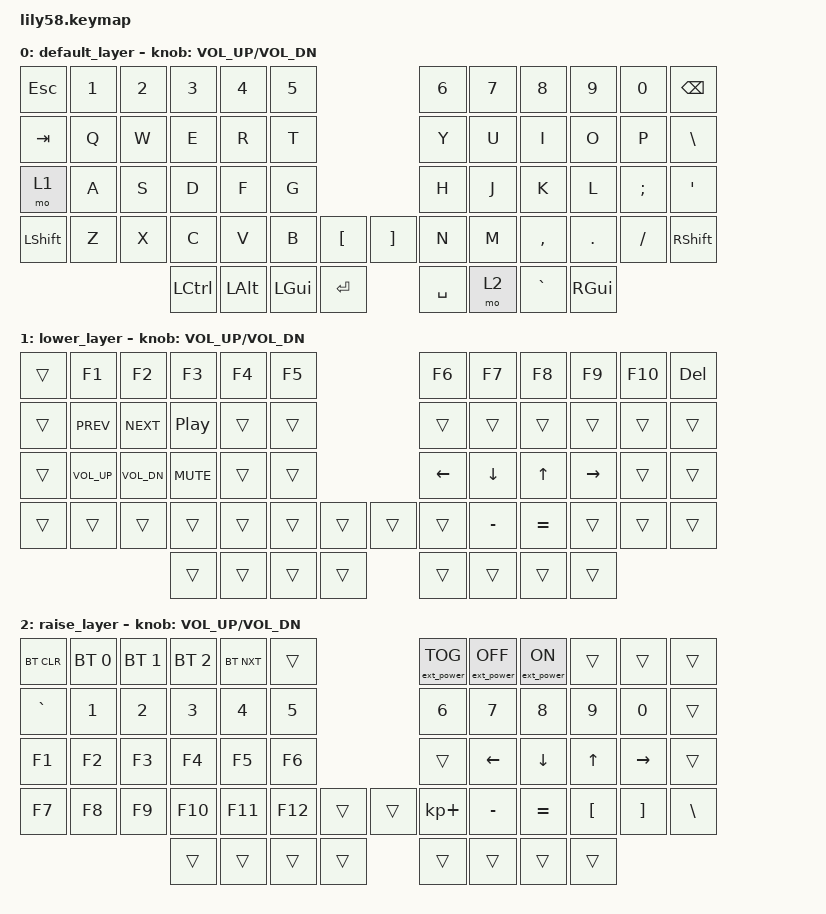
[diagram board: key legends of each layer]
/*
 * Copyright (c) 2020 The ZMK Contributors
 *
 * SPDX-License-Identifier: MIT
 */

#include <behaviors.dtsi>
#include <dt-bindings/zmk/keys.h>
#include <dt-bindings/zmk/bt.h>
#include <dt-bindings/zmk/ext_power.h>

/ {
	keymap {
		compatible = "zmk,keymap";

		default_layer {
// ------------------------------------------------------------------------------------------------------------
// |  ESC  |  1  |  2  |  3   |  4   |  5   |                   |  6   |  7    |  8    |  9   |   0   |   `   |
// |  TAB  |  Q  |  W  |  E   |  R   |  T   |                   |  Y   |  U    |  I    |  O   |   P   |   -   |
// |  CTRL |  A  |  S  |  D   |  F   |  G   |                   |  H   |  J    |  K    |  L   |   ;   |   '   |
// | SHIFT |  Z  |  X  |  C   |  V   |  B   |   "["  |  |  "]"  |  N   |  M    |  ,    |  .   |   /   | SHIFT |
//                     | ALT  | GUI  | LOWER|  SPACE |  | ENTER | RAISE| BSPC  | GUI   |
			bindings = <
&kp ESC   &kp N1 &kp N2 &kp N3   &kp N4   &kp N5                     &kp N6 &kp N7   &kp N8    &kp N9  &kp N0   &kp BSPC
&kp TAB   &kp Q  &kp W  &kp E    &kp R    &kp T                      &kp Y  &kp U    &kp I     &kp O   &kp P    &kp BSLH
&mo 1     &kp A  &kp S  &kp D    &kp F    &kp G                      &kp H  &kp J    &kp K     &kp L   &kp SEMI &kp SQT
&kp LSHFT &kp Z  &kp X  &kp C    &kp V    &kp B  &kp LBKT   &kp RBKT &kp N  &kp M    &kp COMMA &kp DOT &kp FSLH &kp RSHFT
                        &kp LCTRL &kp LALT &kp LGUI  &kp RET  &kp SPACE  &mo 2  &kp GRAVE &kp RGUI
			>;

			sensor-bindings = <&inc_dec_kp C_VOL_UP C_VOL_DN>;
		};

		lower_layer {
// ------------------------------------------------------------------------------------------------------------
// | BTCLR | BT1 | BT2 |  BT3 |  BT4 |  BT5 |                   |      |       |       |      |       |       |
// |  F1   |  F2 |  F3 |  F4  |  F5  |  F6  |                   |  F7  |  F8   |  F9   |  F10 |  F11  |  F12  |
// |   `   |  !  |  @  |  #   |  $   |  %   |                   |  ^   |  &    |  *    |  (   |   )   |   ~   |
// |       |     |     |      |      |      |        |  |       |      |  _    |  +    |  {   |   }   |  "|"  |
//                     |      |      |      |        |  |       |      |       |       |
			bindings = <
&trans     &kp F1           &kp F2            &kp F3            &kp F4       &kp F5                       &kp F6    &kp F7    &kp F8          &kp F9    &kp F10   &kp DEL
&trans     &kp C_PREV       &kp C_NEXT        &kp C_PP          &trans       &trans                       &trans    &trans    &trans          &trans    &trans    &trans
&trans     &kp C_VOL_UP     &kp C_VOL_DN       &kp C_MUTE        &trans       &trans                       &kp LEFT  &kp DOWN  &kp UP          &kp RIGHT &trans    &trans
&trans     &trans           &trans            &trans            &trans       &trans    &trans   &trans    &trans    &kp MINUS &kp EQUAL     &trans    &trans    &trans
                                              &trans            &trans       &trans    &trans   &trans    &trans    &trans    &trans
			>;

			sensor-bindings = <&inc_dec_kp C_VOL_UP C_VOL_DN>;
		};

		raise_layer {
// ------------------------------------------------------------------------------------------------------------
// |       |     |     |      |      |      |                   |      |       |       |      |       |       |
// |   `   |  1  |  2  |  3   |  4   |  5   |                   |  6   |   7   |   8   |  9   |   0   |       |
// |   F1  |  F2 |  F3 |  F4  |  F5  |  F6  |                   |      |   <-  |   ^   |  v   |  ->   |       |
// |   F7  |  F8 |  F9 |  F10 |  F11 |  F12 |        |  |       |  +   |   -   |   =   |  [   |   ]   |   \   |
//                     |      |      |      |        |  |       |      |       |       |
			bindings = <
&bt BT_CLR &bt BT_SEL 0 &bt BT_SEL 1 &bt BT_SEL 2  &bt BT_NXT  &trans                       &ext_power EP_TOG      &ext_power EP_OFF    &ext_power EP_ON    &trans   &trans    &trans
&kp GRAVE &kp N1 &kp N2 &kp N3  &kp N4  &kp N5                       &kp N6      &kp N7    &kp N8    &kp N9   &kp N0    &trans
&kp F1    &kp F2 &kp F3 &kp F4  &kp F5  &kp F6                       &trans      &kp LEFT  &kp DOWN  &kp UP   &kp RIGHT &trans
&kp F7    &kp F8 &kp F9 &kp F10 &kp F11 &kp F12   &trans   &trans    &kp KP_PLUS &kp MINUS &kp EQUAL &kp LBKT &kp RBKT  &kp BSLH
                        &trans  &trans  &trans    &trans   &trans    &trans      &trans    &trans
			>;

			sensor-bindings = <&inc_dec_kp C_VOL_UP C_VOL_DN>;
		};
	};
};
